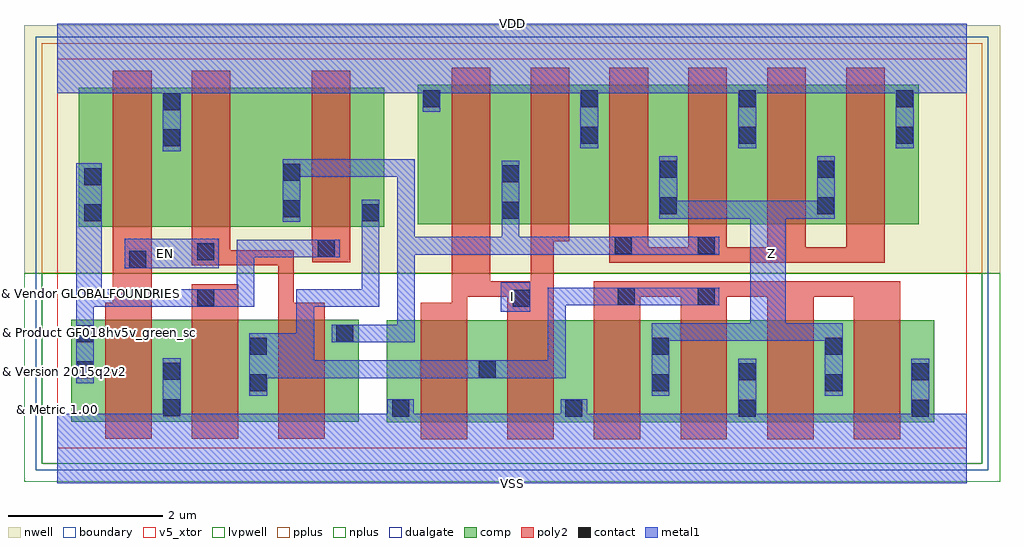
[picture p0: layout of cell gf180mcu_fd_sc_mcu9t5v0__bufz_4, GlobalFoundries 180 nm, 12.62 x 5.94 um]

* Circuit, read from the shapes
.subckt gf180mcu_fd_sc_mcu9t5v0__bufz_4 EN I VDD VSS Z
XM1 VSS EN n1 VSUBS nfet_05v0 w=1.32u l=0.6u
XM2 n2 n1 VSS VSUBS nfet_05v0 w=1.32u l=0.6u
XM3 n3 EN n2 VSUBS nfet_05v0 w=1.32u l=0.6u
XM4 n2 I VSS VSUBS nfet_05v0 w=1.32u l=0.6u m=2
XM5 Z n2 VSS VSUBS nfet_05v0 w=1.32u l=0.6u m=4
XM6 VDD EN n1 n4 pfet_05v0 w=1.8u l=0.5u
XM7 n3 EN VDD n4 pfet_05v0 w=1.8u l=0.5u
XM8 n2 n1 n3 n4 pfet_05v0 w=1.8u l=0.5u
XM9 n3 I VDD n4 pfet_05v0 w=1.8u l=0.5u m=2
XM10 Z n3 VDD n4 pfet_05v0 w=1.8u l=0.5u m=4
.ends

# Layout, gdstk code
import gdstk
lib = gdstk.Library(unit=1e-6, precision=1e-09)
def R(c, l, rs):  # rectangles x0, y0, x1, y1
    for r in rs: c.add(gdstk.rectangle(r[:2], r[2:], *l))
def A(c, l, x, y, w, h, nx, ny, dx, dy):  # array of equal rectangles
    R(c, l, [(x+i*dx, y+j*dy, x+i*dx+w, y+j*dy+h) for i in range(nx) for j in range(ny)])
def P(c, l, *ps):  # polygons
    for p in ps: c.add(gdstk.Polygon(p, *l))
boundary = (0, 0)
nwell = (21, 0)
comp = (22, 0)
poly2 = (30, 0)
pplus = (31, 0)
nplus = (32, 0)
contact = (33, 0)
metal1 = (34, 0)
dualgate = (55, 0)
v5_xtor = (112, 1)
lvpwell = (204, 0)

gf180mcu_fd_sc_mcu9t5v0_ = lib.new_cell('gf180mcu_fd_sc_mcu9t5v0__bufz_4')
R(gf180mcu_fd_sc_mcu9t5v0_, boundary, [(0,0,11.76,5.04)])
R(gf180mcu_fd_sc_mcu9t5v0_, nwell, [(-0.43,2.265,12.19,5.47)])
R(gf180mcu_fd_sc_mcu9t5v0_, comp, [(4.26,0.34,11.34,1.66), (0.18,0.345,3.9,1.665), (0.28,2.865,4.23,4.665), (4.66,2.9,11.14,4.7)])
R(gf180mcu_fd_sc_mcu9t5v0_, poly2, [(1.74,0.125,2.34,2.125)])
P(gf180mcu_fd_sc_mcu9t5v0_, poly2, [(0.62,0.125),(0.62,1.885),(0.72,1.885),(0.72,4.885),(1.22,4.885),(1.22,0.125)],
  [(2.86,0.125),(2.86,2.365),(1.74,2.365),(1.74,4.885),(2.24,4.885),(2.24,2.565),(3.06,2.565),(3.06,1.885),(3.46,1.885),(3.46,0.125)],
  [(3.3,2.405),(3.3,2.645),(3.29,2.645),(3.29,4.885),(3.79,4.885),(3.79,2.405)],
  [(4.7,0.12),(4.7,1.88),(5.1,1.88),(5.1,4.92),(5.6,4.92),(5.6,2.16),(6.12,2.16),(6.12,4.92),(6.62,4.92),(6.62,2.68),(6.42,2.68),(6.42,0.12),(5.82,0.12),(5.82,1.96),(5.3,1.96),(5.3,0.12)],
  [(7.14,2.4),(7.14,4.92),(7.64,4.92),(7.64,2.6),(8.16,2.6),(8.16,4.92),(8.66,4.92),(8.66,2.6),(9.18,2.6),(9.18,4.92),(9.68,4.92),(9.68,2.6),(10.2,2.6),(10.2,4.92),(10.7,4.92),(10.7,2.4)],
  [(6.94,0.12),(6.94,2.16),(10.9,2.16),(10.9,0.12),(10.3,0.12),(10.3,1.96),(9.78,1.96),(9.78,0.12),(9.18,0.12),(9.18,1.96),(8.66,1.96),(8.66,0.12),(8.06,0.12),(8.06,1.96),(7.54,1.96),(7.54,0.12)])
R(gf180mcu_fd_sc_mcu9t5v0_, pplus, [(-0.2,2.265,11.96,5.24)])
R(gf180mcu_fd_sc_mcu9t5v0_, nplus, [(-0.2,-0.2,11.96,2.265)])
A(gf180mcu_fd_sc_mcu9t5v0_, contact, 4.33, 0.41, 0.22, 0.22, 4, 1, 2.24, 0)
A(gf180mcu_fd_sc_mcu9t5v0_, contact, 6.77, 3.94, 0.22, 0.22, 3, 1, 2.04, 0)
A(gf180mcu_fd_sc_mcu9t5v0_, contact, 4.73, 4.41, 0.22, 0.22, 4, 1, 2.04, 0)
R(gf180mcu_fd_sc_mcu9t5v0_, contact, [(1.37,0.415,1.59,0.635), (2.49,0.74,2.71,0.96), (7.69,0.74,7.91,0.96), (9.93,0.74,10.15,0.96), (8.81,0.88,9.03,1.1), (11.05,0.88,11.27,1.1), (1.37,0.885,1.59,1.105), (0.25,0.905,0.47,1.125), (5.45,0.915,5.67,1.135), (2.49,1.21,2.71,1.43), (7.69,1.21,7.91,1.43), (9.93,1.21,10.15,1.43), (0.25,1.375,0.47,1.595), (3.61,1.375,3.83,1.595), (5.89,1.83,6.11,2.05), (1.81,1.835,2.03,2.055), (7.25,1.855,7.47,2.075), (8.28,1.855,8.5,2.075), (0.93,2.335,1.15,2.555), (1.81,2.435,2.03,2.655), (3.37,2.475,3.59,2.695), (7.21,2.51,7.43,2.73), (8.28,2.51,8.5,2.73), (0.35,2.935,0.57,3.155), (3.94,2.935,4.16,3.155), (5.75,2.97,5.97,3.19), (2.92,2.99,3.14,3.21), (7.79,3.03,8.01,3.25), (9.83,3.03,10.05,3.25), (0.35,3.405,0.57,3.625), (5.75,3.44,5.97,3.66), (2.92,3.46,3.14,3.68), (7.79,3.5,8.01,3.72), (9.83,3.5,10.05,3.72), (1.37,3.905,1.59,4.125), (1.37,4.375,1.59,4.595)])
R(gf180mcu_fd_sc_mcu9t5v0_, metal1, [(5.735,1.77,6.115,2.15), (0.87,2.33,2.09,2.71)])
P(gf180mcu_fd_sc_mcu9t5v0_, metal1, [(0.245,0.845),(0.245,3.685),(0.575,3.685),(0.575,2.06),(2.32,2.06),(2.32,2.7),(3.65,2.7),(3.65,2.47),(2.55,2.47),(2.55,1.83),(0.475,1.83),(0.475,0.845)],
  [(2.485,0.68),(2.485,1.49),(3.09,1.49),(3.09,2.06),(3.935,2.06),(3.935,3.215),(4.165,3.215),(4.165,1.83),(3.32,1.83),(3.32,1.14),(6.345,1.14),(6.345,2.08),(8.56,2.08),(8.56,1.85),(6.575,1.85),(6.575,0.91),(2.715,0.91),(2.715,0.68)],
  [(3.55,1.37),(3.55,1.6),(4.395,1.6),(4.395,3.51),(3.145,3.51),(3.145,2.93),(2.915,2.93),(2.915,3.74),(4.625,3.74),(4.625,2.735),(5.745,2.735),(5.745,3.72),(5.975,3.72),(5.975,2.735),(8.56,2.735),(8.56,2.505),(4.625,2.505),(4.625,1.37)],
  [(7.685,0.68),(7.685,1.62),(8.96,1.62),(8.96,2.97),(7.785,2.97),(7.785,3.78),(8.015,3.78),(8.015,3.2),(9.825,3.2),(9.825,3.78),(10.055,3.78),(10.055,2.97),(9.42,2.97),(9.42,1.62),(10.155,1.62),(10.155,0.68),(9.925,0.68),(9.925,1.39),(7.915,1.39),(7.915,0.68)],
  [(0,-0.45),(0,0.45),(1.365,0.45),(1.365,1.165),(1.595,1.165),(1.595,0.45),(4.27,0.45),(4.27,0.635),(4.61,0.635),(4.61,0.45),(6.51,0.45),(6.51,0.635),(6.85,0.635),(6.85,0.45),(8.805,0.45),(8.805,1.16),(9.035,1.16),(9.035,0.45),(11.045,0.45),(11.045,1.16),(11.275,1.16),(11.275,0.45),(11.76,0.45),(11.76,-0.45)],
  [(1.365,3.845),(1.365,4.59),(0,4.59),(0,5.49),(11.76,5.49),(11.76,4.59),(11.075,4.59),(11.075,3.88),(10.845,3.88),(10.845,4.59),(9.035,4.59),(9.035,3.88),(8.805,3.88),(8.805,4.59),(6.995,4.59),(6.995,3.88),(6.765,3.88),(6.765,4.59),(4.955,4.59),(4.955,4.35),(4.725,4.35),(4.725,4.59),(1.595,4.59),(1.595,3.845)])
R(gf180mcu_fd_sc_mcu9t5v0_, dualgate, [(-0.28,-0.28,12.04,5.32)])
R(gf180mcu_fd_sc_mcu9t5v0_, v5_xtor, [(0,0,11.76,5.04)])
R(gf180mcu_fd_sc_mcu9t5v0_, lvpwell, [(-0.43,-0.43,12.19,2.265)])
gf180mcu_fd_sc_mcu9t5v0_.add(gdstk.Label('EN', (1.4,2.52), layer=34, texttype=10))
gf180mcu_fd_sc_mcu9t5v0_.add(gdstk.Label('I', (5.88,1.96), layer=34, texttype=10))
gf180mcu_fd_sc_mcu9t5v0_.add(gdstk.Label('VDD', (5.88,5.49), layer=34, texttype=10))
gf180mcu_fd_sc_mcu9t5v0_.add(gdstk.Label('VSS', (5.88,-0.45), layer=34, texttype=10))
gf180mcu_fd_sc_mcu9t5v0_.add(gdstk.Label('Z', (9.24,2.52), layer=34, texttype=10))
gf180mcu_fd_sc_mcu9t5v0_.add(gdstk.Label('& Vendor GLOBALFOUNDRIES', (0,2), layer=63, texttype=63))
gf180mcu_fd_sc_mcu9t5v0_.add(gdstk.Label('& Product GF018hv5v_green_sc9', (0,1.5), layer=63, texttype=63))
gf180mcu_fd_sc_mcu9t5v0_.add(gdstk.Label('& Version 2015q2v2', (0,1), layer=63, texttype=63))
gf180mcu_fd_sc_mcu9t5v0_.add(gdstk.Label('& Metric 1.00', (0,0.5), layer=63, texttype=63))

lib.write_gds('gf180mcu_fd_sc_mcu9t5v0__bufz_4.gds')
